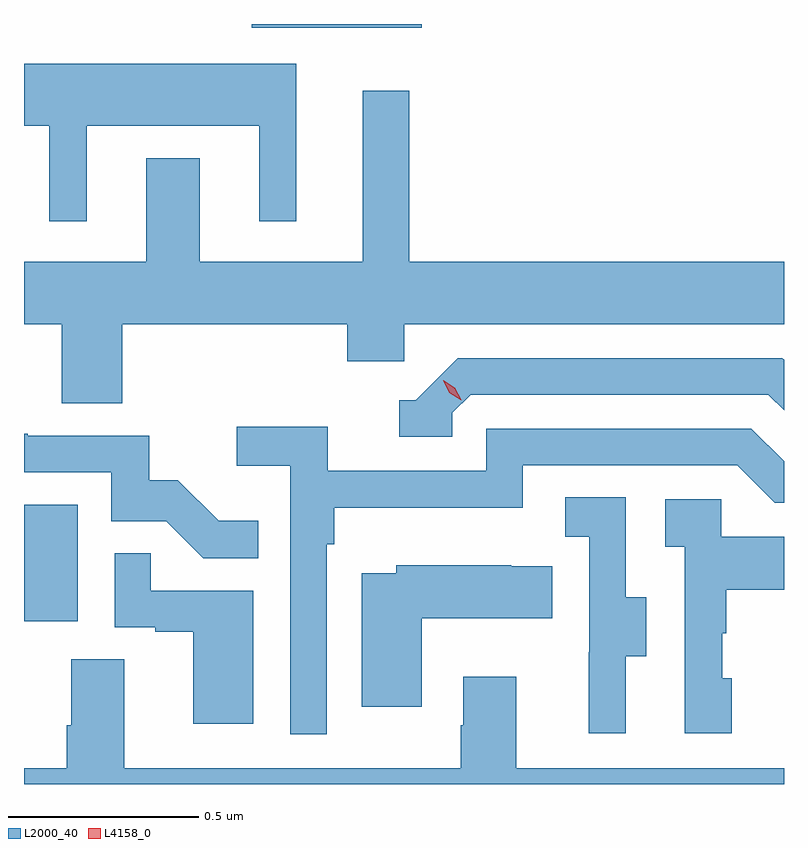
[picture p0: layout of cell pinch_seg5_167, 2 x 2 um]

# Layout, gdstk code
import gdstk
lib = gdstk.Library(unit=1e-6, precision=1e-09)
def R(c, l, rs):  # rectangles x0, y0, x1, y1
    for r in rs: c.add(gdstk.rectangle(r[:2], r[2:], *l))
def P(c, l, *ps):  # polygons
    for p in ps: c.add(gdstk.Polygon(p, *l))
L2000_40 = (2000, 40)
L4158_0 = (4158, 0)

pinch_seg5_167 = lib.new_cell('pinch_seg5_167')
R(pinch_seg5_167, L2000_40, [(1088.641,883.95,1088.782,884.257), (1089.24,885.512,1089.688,885.522)])
P(pinch_seg5_167, L2000_40, [(1088.806,885.254),(1089.26,885.254),(1089.26,885.003),(1089.358,885.003),(1089.358,885.418),(1088.641,885.418),(1088.641,885.254),(1088.708,885.254),(1088.708,885.003),(1088.806,885.003)],
  [(1088.9,884.732),(1089.491,884.732),(1089.491,884.634),(1089.642,884.634),(1089.642,884.732),(1090.641,884.732),(1090.641,884.896),(1089.655,884.896),(1089.655,885.346),(1089.533,885.346),(1089.533,884.896),(1089.103,884.896),(1089.103,885.169),(1088.963,885.169),(1088.963,884.896),(1088.641,884.896),(1088.641,884.732),(1088.74,884.732),(1088.74,884.524),(1088.9,884.524)],
  [(1089.768,884.499),(1089.816,884.547),(1090.599,884.547),(1090.641,884.505),(1090.641,884.638),(1090.636,884.643),(1089.783,884.643),(1089.672,884.532),(1089.629,884.532),(1089.629,884.436),(1089.768,884.436)],
  [(1089.438,884.153),(1089.458,884.153),(1089.458,884.249),(1089.954,884.249),(1089.954,884.361),(1090.518,884.361),(1090.617,884.262),(1090.641,884.262),(1090.641,884.371),(1090.555,884.457),(1089.858,884.457),(1089.858,884.346),(1089.44,884.346),(1089.44,884.462),(1089.201,884.462),(1089.201,884.36),(1089.342,884.36),(1089.342,883.653),(1089.438,883.653)],
  [(1089.257,884.215),(1089.153,884.215),(1089.046,884.322),(1088.97,884.322),(1088.97,884.439),(1088.651,884.439),(1088.651,884.444),(1088.641,884.444),(1088.641,884.343),(1088.871,884.343),(1088.871,884.214),(1089.015,884.214),(1089.113,884.116),(1089.257,884.116)],
  [(1090.225,883.858),(1090.279,883.858),(1090.279,884.013),(1090.224,884.013),(1090.224,884.276),(1090.065,884.276),(1090.065,884.173),(1090.128,884.173),(1090.128,883.869),(1090.127,883.869),(1090.127,883.656),(1090.225,883.656)],
  [(1090.504,883.8),(1090.479,883.8),(1090.479,883.919),(1090.489,883.919),(1090.489,884.033),(1090.641,884.033),(1090.641,884.173),(1090.476,884.173),(1090.476,884.271),(1090.329,884.271),(1090.329,884.147),(1090.38,884.147),(1090.38,883.656),(1090.504,883.656)],
  [(1089.244,884.031),(1088.975,884.031),(1088.975,884.129),(1088.88,884.129),(1088.88,883.935),(1088.987,883.935),(1088.987,883.923),(1089.086,883.923),(1089.086,883.68),(1089.244,883.68)],
  [(1089.688,883.958),(1090.031,883.958),(1090.031,884.095),(1089.923,884.095),(1089.923,884.098),(1089.621,884.098),(1089.621,884.077),(1089.53,884.077),(1089.53,883.725),(1089.688,883.725)],
  [(1090.641,883.564),(1089.937,883.564),(1089.937,883.804),(1089.797,883.804),(1089.797,883.676),(1089.79,883.676),(1089.79,883.564),(1088.905,883.564),(1088.905,883.85),(1088.765,883.85),(1088.765,883.676),(1088.753,883.676),(1088.753,883.564),(1088.641,883.564),(1088.641,883.522),(1090.641,883.522)])
P(pinch_seg5_167, L4158_0, [(1089.791,884.532),(1089.76,884.551),(1089.744,884.583),(1089.744,884.584),(1089.744,884.584),(1089.775,884.565),(1089.791,884.533),(1089.791,884.532)])

lib.write_gds('pinch_seg5_167.gds')
